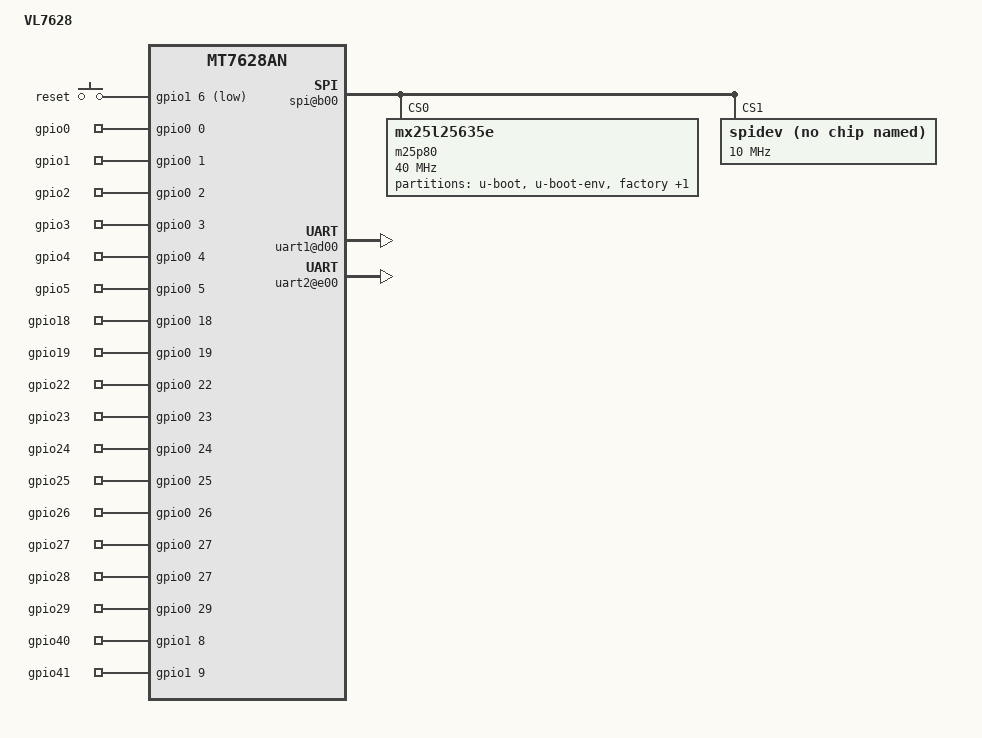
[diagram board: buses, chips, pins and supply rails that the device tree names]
/dts-v1/;

/include/ "mt7628an.dtsi"

/ {
	compatible = "mediatek,vl7628-board", "mediatek,mt7628an-soc";
	model = "VL7628";

	pinctrl {
		state_default: pinctrl0 {
			i2c {
				ralink,group = "i2c", "jtag";
				ralink,function = "gpio";
			};
			i2s {
				ralink,group = "i2s";
				ralink,function = "gpio";
			};
			gpio {
				ralink,group = "gpio";
				ralink,function = "gpio";
			};
			refclk {
				ralink,group = "refclk";
				ralink,function = "gpio";
			};
			wdt {
				ralink,group = "wdt";
				ralink,function = "gpio";
			};
			wled_an {
				ralink,group = "wled_an";
				ralink,function = "wled_an";
			};
			ephy_p1 {
				ralink,group = "ephy_p1";
				ralink,function = "gpio";
			};
			ephy_p2 {
				ralink,group = "ephy_p2";
				ralink,function = "gpio";
			};
			ephy_p3 {
				ralink,group = "ephy_p3";
				ralink,function = "gpio";
			};
			ephy_p4 {
				ralink,group = "ephy_p4";
				ralink,function = "gpio";
			};
			sdmode {
				ralink,group = "sdmode";
				ralink,function = "gpio";
			};
			pwm0 {
				ralink,group = "pwm0";
				ralink,function = "gpio";
			};
			pwm1 {
				ralink,group = "pwm1";
				ralink,function = "gpio";
			};
		};
	};

	palmbus@10000000 {
		spi@b00 {
			status = "okay";

			m25p80@0 {
				#address-cells = <1>;
				#size-cells = <1>;
				compatible = "mx25l25635e";
				reg = <0 0>;
				linux,modalias = "m25p80", "mx25l25635e";
				spi-max-frequency = <40000000>;
				m25p,chunked-io = <31>;

				partition@0 {
					label = "u-boot";
					reg = <0x0 0x30000>;
					read-only;
				};

				partition@30000 {
					label = "u-boot-env";
					reg = <0x30000 0x10000>;
					read-only;
				};

				factory: partition@40000 {
					label = "factory";
					reg = <0x40000 0x10000>;
					read-only;
				};

				partition@50000 {
					label = "firmware";
					reg = <0x50000 0x1fb0000>;
				};
			};


			spidev@1 {
				#address-cells = <1>;
				#size-cells = <1>;
				compatible = "spidev";
				reg = <1 0>;
				linux,modalias = "spidev", "spidev";
				spi-max-frequency = <10000000>;
			};
		};

		uart1@d00 {
			status = "okay";
		};

		uart2@e00 {
			status = "okay";
		};

	};

	ethernet@10100000 {
		mtd-mac-address = <&factory 0x4>;
	};


	gpio-keys-polled {
		compatible = "gpio-keys-polled";
		#address-cells = <1>;
		#size-cells = <0>;
		poll-interval = <20>;
		reset {
			label = "reset";
			gpios = <&gpio1 6 1>;
			linux,code = <0x198>;
		};
	};
/*
	gpio-leds {
		compatible = "gpio-leds";
		eth {
			label = "vl7628:orange:eth";
			gpios = <&gpio1 11 0>;
		};
	};
*/
	gpio-export {
		compatible = "gpio-export";
		#size-cells = <0>;

		gpio0 {
			/* i2s sdi */
			gpio-export,name = "gpio0";
			gpio-export,output = <1>;
			gpios = <&gpio0 0 0>;
		};

		gpio1 {
			/* i2s sdo */
			gpio-export,name = "gpio1";
			gpio-export,output = <1>;
			gpios = <&gpio0 1 0>;
		};
		gpio2 {
			/* i2s ws */
			gpio-export,name = "gpio2";
			gpio-export,output = <1>;
			gpios = <&gpio0 2 0>;
		};
		gpio3 {
			/* i2s clk */
			gpio-export,name = "gpio3";
			gpio-export,output = <1>;
			gpios = <&gpio0 3 0>;
		};
		gpio4 {
			/* i2c sclk */
			gpio-export,name = "gpio4";
			gpio-export,output = <0>;
			gpios = <&gpio0 4 0>;
		};
		gpio5 {
			/* i2c sd */
			gpio-export,name = "gpio5";
			gpio-export,output = <0>;
			gpios = <&gpio0 5 0>;
		};
		gpio18 {
			/* RP Port2 */
			gpio-export,name = "gpio18";
			gpio-export,output = <1>;
			gpios = <&gpio0 18 0>;
		};
		gpio19 {
			/* RN Port2 */
			gpio-export,name = "gpio19";
			gpio-export,output = <1>;
			gpios = <&gpio0 19 0>;
		};

		gpio22 {
			/* TP Port3 */
			gpio-export,name = "gpio22";
			gpio-export,output = <1>;
			gpios = <&gpio0 22 0>;
		};
		gpio23 {
			/* TN Port3 */
			gpio-export,name = "gpio23";
			gpio-export,output = <1>;
			gpios = <&gpio0 23 0>;
		};
		gpio24 {
			/* RP Port3 */
			gpio-export,name = "gpio24";
			gpio-export,output = <1>;
			gpios = <&gpio0 24 0>;
		};
		gpio25 {
			/* RN Port3 */
			gpio-export,name = "gpio25";
			gpio-export,output = <1>;
			gpios = <&gpio0 25 0>;
		};
		gpio26 {
			/* RP Port4 */
			gpio-export,name = "gpio26";
			gpio-export,output = <1>;
			gpios = <&gpio0 26 0>;
		};

		gpio27 {
			/* RN Port4 */
			gpio-export,name = "gpio27";
			gpio-export,output = <1>;
			gpios = <&gpio0 27 0>;
		};
		gpio28 {
			/* TP Port4 */
			gpio-export,name = "gpio28";
			gpio-export,output = <1>;
			gpios = <&gpio0 27 0>;
		};
		gpio29 {
			/* TN Port4 */
			gpio-export,name = "gpio29";
			gpio-export,output = <1>;
			gpios = <&gpio0 29 0>;
		};
		gpio40 {
			/* P3 led*/
			gpio-export,name = "gpio40";
			gpio-export,output = <1>;
			gpios = <&gpio1 8 0>;
		};
		gpio41 {
			/* P2 led */
			gpio-export,name = "gpio41";
			gpio-export,output = <1>;
			gpios = <&gpio1 9 0>;
		};
	};


};
